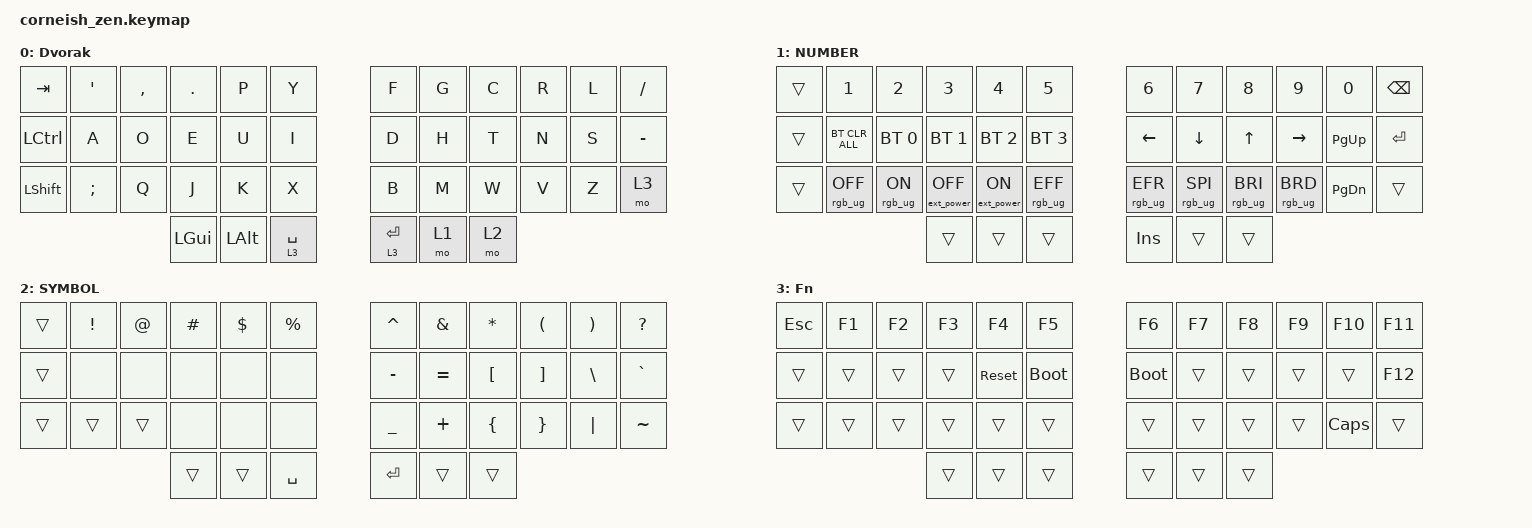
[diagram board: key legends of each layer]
/*
 * Copyright (c) 2020 The ZMK Contributors
 *
 * SPDX-License-Identifier: MIT
 */

#include <behaviors.dtsi>
#include <dt-bindings/zmk/bt.h>
#include <dt-bindings/zmk/ext_power.h>
#include <dt-bindings/zmk/keys.h>
#include <dt-bindings/zmk/rgb.h>

/ {
    chosen {
        zmk,matrix_transform = &default_transform;

        // zmk,matrix_transform = &five_column_transform;
    };
};

/ {
    behaviors {
        td0: td0 {
            compatible = "zmk,behavior-tap-dance";
            label = "TD0";
            #binding-cells = <0>;
            bindings = <&kp LEFT_SHIFT>, <&kp CAPS>;
        };
    };

    combos {
        compatible = "zmk,combos";

        combo-esc {
            bindings = <&kp ESCAPE>;
            key-positions = <0 37>;
            layers = <0>;
            require-prior-idle-ms = <100>;
        };

        combo-bspc {
            bindings = <&kp BSPC>;
            key-positions = <40 11>;
            layers = <0>;
        };

        combo-enter {
            bindings = <&kp ENTER>;
            key-positions = <40 23>;
        };

        combo-caps-right {
            bindings = <&kp CAPS>;
            key-positions = <40 35>;
        };

        combo-caps-left {
            bindings = <&kp CAPS>;
            key-positions = <37 12>;
        };
    };

    keymap {
        compatible = "zmk,keymap";

        default_layer {
            display-name = "Dvorak";

            // --------------------------------------------------------------------------------
            // |  TAB |  Q  |  W  |  E  |  R  |  T  |   |  Y  |  U   |  I  |  O  |  P  | BKSP |
            // | CTRL |  A  |  S  |  D  |  F  |  G  |   |  H  |  J   |  K  |  L  |  ;  |  '   | 
            // | SHFT |  Z  |  X  |  C  |  V  |  B  |   |  N  |  M   |  ,  |  .  |  /  | ESC  |
            //                    | GUI | LWR | SPC |   | ENT | RSE  | ALT |

            bindings = <
&kp TAB    &kp SQT   &kp COMMA  &kp DOT   &kp P         &kp Y          &kp F        &kp G  &kp C  &kp R  &kp L  &kp FSLH
&kp LCTRL  &kp A     &kp O      &kp E     &kp U         &kp I          &kp D        &kp H  &kp T  &kp N  &kp S  &kp MINUS
&kp LSHFT  &kp SEMI  &kp Q      &kp J     &kp K         &kp X          &kp B        &kp M  &kp W  &kp V  &kp Z  &mo 3
                                &kp LGUI  &kp LEFT_ALT  &lt 3 SPACE    &lt 3 ENTER  &mo 1  &mo 2
            >;
        };

        lower_layer {
            display-name = "NUMBER";

            // -----------------------------------------------------------------------------------------
            // |  TAB |  1  |  2  |  3  |  4  |  5  |   |  6  |  7  |  8  |  9  |  0  | BKSP |
            // | BTCLR| BT1 | BT2 | BT3 | BT4 | BT5 |   | LFT | DWN |  UP | RGT |     |      |
            // | SHFT |     |     |     |     |     |   |     |     |     |     |     |      |
            //                    | GUI |     | SPC |   | ENT |     | ALT |

            bindings = <
&trans  &kp N1           &kp N2          &kp N3             &kp N4            &kp N5             &kp N6           &kp N7           &kp N8           &kp N9           &kp N0         &kp BSPC
&trans  &bt BT_CLR_ALL   &bt BT_SEL 0    &bt BT_SEL 1       &bt BT_SEL 2      &bt BT_SEL 3       &kp LEFT         &kp DOWN         &kp UP           &kp RIGHT        &kp PAGE_UP    &kp ENTER
&trans  &rgb_ug RGB_OFF  &rgb_ug RGB_ON  &ext_power EP_OFF  &ext_power EP_ON  &rgb_ug RGB_EFF    &rgb_ug RGB_EFR  &rgb_ug RGB_SPI  &rgb_ug RGB_BRI  &rgb_ug RGB_BRD  &kp PAGE_DOWN  &trans
                                         &trans             &trans            &trans             &kp INS          &trans           &trans
            >;
        };

        raise_layer {
            display-name = "SYMBOL";

            // -----------------------------------------------------------------------------------------
            // |  TAB |  !  |  @  |  #  |  $  |  %  |   |  ^  |  &  |  *  |  (  |  )  | BKSP |
            // | CTRL |     |     |     |     |     |   |  -  |  =  |  [  |  ]  |  \  |  `   |
            // | SHFT |     |     |     |     |     |   |  _  |  +  |  {  |  }  | "|" |  ~   |
            //                    | GUI |     | SPC |   | ENT |     | ALT |

            bindings = <
&trans  &kp EXCL  &kp AT  &kp HASH  &kp DLLR  &kp PRCNT    &kp CARET  &kp AMPS   &kp ASTRK  &kp LPAR  &kp RPAR  &kp QUESTION
&trans  &none     &none   &none     &none     &none        &kp MINUS  &kp EQUAL  &kp LBKT   &kp RBKT  &kp BSLH  &kp GRAVE
&trans  &trans    &trans  &none     &none     &none        &kp UNDER  &kp PLUS   &kp LBRC   &kp RBRC  &kp PIPE  &kp TILDE
                          &trans    &trans    &kp SPACE    &kp RET    &trans     &trans
            >;
        };

        layer_3 {
            display-name = "Fn";
            bindings = <
&kp ESC  &kp F1  &kp F2  &kp F3  &kp F4      &kp F5         &kp F6       &kp F7  &kp F8  &kp F9  &kp F10   &kp F11
&trans   &trans  &trans  &trans  &sys_reset  &bootloader    &bootloader  &trans  &trans  &trans  &trans    &kp F12
&trans   &trans  &trans  &trans  &trans      &trans         &trans       &trans  &trans  &trans  &kp CAPS  &trans
                         &trans  &trans      &trans         &trans       &trans  &trans
            >;
        };
    };
};
